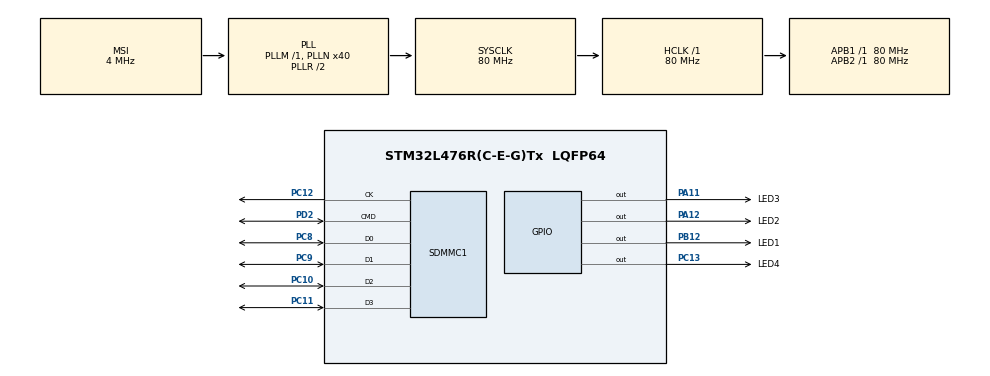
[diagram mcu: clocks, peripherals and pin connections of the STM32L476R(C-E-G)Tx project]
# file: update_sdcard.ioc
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Mcu.Family=STM32L4
RCC.MSI_VALUE=4000000
RCC.CortexFreq_Value=80000000
VP_FATFS_VS_SDIO.Mode=SDIO
PC12.Signal=SDMMC1_CK
PC11.Signal=SDMMC1_D3
PC10.Signal=SDMMC1_D2
PC13.Signal=GPIO_Output
PC8.Signal=SDMMC1_D0
PC10.Mode=SD_4_bits_Wide_bus
PA11.GPIO_Label=LED3
PC13.GPIO_Label=LED4
PA12.GPIO_Label=LED2
RCC.SYSCLKSource=RCC_SYSCLKSOURCE_PLLCLK
ProjectManager.StackSize=0x400
NVIC.SDMMC1_IRQn=true\:0\:0\:false\:false\:true\:true\:true
PA12.Signal=GPIO_Output
ProjectManager.TargetToolchain=MDK-ARM V5.27
RCC.HCLKFreq_Value=80000000
RCC.APB2TimFreq_Value=80000000
PB12.PinState=GPIO_PIN_SET
RCC.USBFreq_Value=32000000
RCC.LSE_VALUE=32768
RCC.AHBFreq_Value=80000000
PD2.Mode=SD_4_bits_Wide_bus
PA12.PinState=GPIO_PIN_SET
RCC.HSE_VALUE=8000000
PC12.Mode=SD_4_bits_Wide_bus
board=custom
RCC.VCOOutputFreq_Value=160000000
PB12.GPIO_Label=LED1
RCC.APB2Freq_Value=80000000
RCC.ADCFreq_Value=32000000
PC9.Mode=SD_4_bits_Wide_bus
FATFS._USE_FIND=0
Mcu.Name=STM32L476R(C-E-G)Tx
FATFS._MAX_SS=4096
PC8.Mode=SD_4_bits_Wide_bus
RCC.SYSCLKFreq_VALUE=80000000
Mcu.Package=LQFP64
PA11.Signal=GPIO_Output
ProjectManager.HeapSize=0x200
PC11.Mode=SD_4_bits_Wide_bus
RCC.HSI_VALUE=16000000
NVIC.PriorityGroup=NVIC_PRIORITYGROUP_4
RCC.PLLN=40
RCC.APB1TimFreq_Value=80000000
PC9.Signal=SDMMC1_D1
PD2.Signal=SDMMC1_CMD
RCC.APB1Freq_Value=80000000
PA11.PinState=GPIO_PIN_SET
PB12.Signal=GPIO_Output
PC13.PinState=GPIO_PIN_SET
RCC.PLLSAI1N=16

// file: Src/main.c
/* USER CODE BEGIN Header */
/**
  ******************************************************************************
  * @file           : main.c
  * @brief          : Main program body
  ******************************************************************************
  * @attention
  *
  * <h2><center>&copy; Copyright (c) 2022 STMicroelectronics.
  * All rights reserved.</center></h2>
  *
  * This software component is licensed by ST under BSD 3-Clause license,
  * the "License"; You may not use this file except in compliance with the
  * License. You may obtain a copy of the License at:
  *                        opensource.org/licenses/BSD-3-Clause
  *
  ******************************************************************************
  */
/* USER CODE END Header */

#include "main.h"
#include "fatfs.h"

/* USER CODE BEGIN Includes */
#include "bootloader.h"
/* USER CODE END Includes */

SD_HandleTypeDef hsd1;

/* USER CODE BEGIN PV */

//static uint8_t BTNcounter = 0;
/* USER CODE BEGIN Includes */
//extern char SDPath[4]; /* SD logical drive path */
//extern FATFS SDFatFs;  /* File system object for SD logical drive */
//extern FIL SDFile;     /* File object for SD */

/* USER CODE END PV */

void SystemClock_Config(void);
static void MX_GPIO_Init(void);
static void MX_SDMMC1_SD_Init(void);
/* USER CODE BEGIN PFP */
void Enter_Bootloader(void);
static void MX_GPIO_DeInit(void);
uint8_t SD_Init(void);
void SD_DeInit(void);
void SD_Eject(void);
/* USER CODE END PFP */

int main(void)
{

  /* MCU Configuration--------------------------------------------------------*/

  /* Reset of all peripherals, Initializes the Flash interface and the Systick. */
  HAL_Init();

  /* Configure the system clock */
  SystemClock_Config();

  /* Initialize all configured peripherals */
  MX_GPIO_Init();
  MX_SDMMC1_SD_Init();
  MX_FATFS_Init();
  /* USER CODE BEGIN 2 */
/* Check system reset flags */
	if(__HAL_RCC_GET_FLAG(RCC_FLAG_OBLRST))
	{
#if(CLEAR_RESET_FLAGS)
        /* Clear system reset flags */
			__HAL_RCC_CLEAR_RESET_FLAGS();
        //print("Reset flags cleared.");
#endif
	}
	Enter_Bootloader();
	/* Check if there is application in user flash area */
	if(Bootloader_CheckForApplication() == BL_OK)
	{
#if(USE_CHECKSUM)
			/* Verify application checksum */
			if(Bootloader_VerifyChecksum() != BL_OK)
			{
					//print("Checksum Error.");
					Error_Handler();
			}
			else
			{
					//print("Checksum OK.");
			}
#endif

			HAL_Delay(1000);
			/* De-initialize bootloader hardware & peripherals */
			SD_DeInit();
			MX_GPIO_DeInit();
			/* Launch application */
			Bootloader_JumpToApplication();
	}
  /* USER CODE END 2 */

  /* Infinite loop */
  while (1)
  {

  }
}

void SystemClock_Config(void)
{
  RCC_OscInitTypeDef RCC_OscInitStruct = {0};
  RCC_ClkInitTypeDef RCC_ClkInitStruct = {0};
  RCC_PeriphCLKInitTypeDef PeriphClkInit = {0};

  /** Initializes the CPU, AHB and APB busses clocks
  */
  RCC_OscInitStruct.OscillatorType = RCC_OSCILLATORTYPE_MSI;
  RCC_OscInitStruct.MSIState = RCC_MSI_ON;
  RCC_OscInitStruct.MSICalibrationValue = 0;
  RCC_OscInitStruct.MSIClockRange = RCC_MSIRANGE_6;
  RCC_OscInitStruct.PLL.PLLState = RCC_PLL_ON;
  RCC_OscInitStruct.PLL.PLLSource = RCC_PLLSOURCE_MSI;
  RCC_OscInitStruct.PLL.PLLM = 1;
  RCC_OscInitStruct.PLL.PLLN = 40;
  RCC_OscInitStruct.PLL.PLLP = RCC_PLLP_DIV7;
  RCC_OscInitStruct.PLL.PLLQ = RCC_PLLQ_DIV2;
  RCC_OscInitStruct.PLL.PLLR = RCC_PLLR_DIV2;
  if (HAL_RCC_OscConfig(&RCC_OscInitStruct) != HAL_OK)
  {
    Error_Handler();
  }
  /** Initializes the CPU, AHB and APB busses clocks
  */
  RCC_ClkInitStruct.ClockType = RCC_CLOCKTYPE_HCLK|RCC_CLOCKTYPE_SYSCLK
                              |RCC_CLOCKTYPE_PCLK1|RCC_CLOCKTYPE_PCLK2;
  RCC_ClkInitStruct.SYSCLKSource = RCC_SYSCLKSOURCE_PLLCLK;
  RCC_ClkInitStruct.AHBCLKDivider = RCC_SYSCLK_DIV1;
  RCC_ClkInitStruct.APB1CLKDivider = RCC_HCLK_DIV1;
  RCC_ClkInitStruct.APB2CLKDivider = RCC_HCLK_DIV1;

  if (HAL_RCC_ClockConfig(&RCC_ClkInitStruct, FLASH_LATENCY_4) != HAL_OK)
  {
    Error_Handler();
  }
  PeriphClkInit.PeriphClockSelection = RCC_PERIPHCLK_SDMMC1;
  PeriphClkInit.Sdmmc1ClockSelection = RCC_SDMMC1CLKSOURCE_PLLSAI1;
  PeriphClkInit.PLLSAI1.PLLSAI1Source = RCC_PLLSOURCE_MSI;
  PeriphClkInit.PLLSAI1.PLLSAI1M = 1;
  PeriphClkInit.PLLSAI1.PLLSAI1N = 16;
  PeriphClkInit.PLLSAI1.PLLSAI1P = RCC_PLLP_DIV7;
  PeriphClkInit.PLLSAI1.PLLSAI1Q = RCC_PLLQ_DIV2;
  PeriphClkInit.PLLSAI1.PLLSAI1R = RCC_PLLR_DIV2;
  PeriphClkInit.PLLSAI1.PLLSAI1ClockOut = RCC_PLLSAI1_48M2CLK;
  if (HAL_RCCEx_PeriphCLKConfig(&PeriphClkInit) != HAL_OK)
  {
    Error_Handler();
  }
  /** Configure the main internal regulator output voltage
  */
  if (HAL_PWREx_ControlVoltageScaling(PWR_REGULATOR_VOLTAGE_SCALE1) != HAL_OK)
  {
    Error_Handler();
  }
}

static void MX_SDMMC1_SD_Init(void)
{

  hsd1.Instance = SDMMC1;
  hsd1.Init.ClockEdge = SDMMC_CLOCK_EDGE_RISING;
  hsd1.Init.ClockBypass = SDMMC_CLOCK_BYPASS_DISABLE;
  hsd1.Init.ClockPowerSave = SDMMC_CLOCK_POWER_SAVE_DISABLE;
  hsd1.Init.BusWide = SDMMC_BUS_WIDE_1B;
  hsd1.Init.HardwareFlowControl = SDMMC_HARDWARE_FLOW_CONTROL_DISABLE;
  hsd1.Init.ClockDiv = 0;

}

static void MX_GPIO_Init(void)
{
  GPIO_InitTypeDef GPIO_InitStruct = {0};

  /* GPIO Ports Clock Enable */
  __HAL_RCC_GPIOC_CLK_ENABLE();
  __HAL_RCC_GPIOB_CLK_ENABLE();
  __HAL_RCC_GPIOA_CLK_ENABLE();
  __HAL_RCC_GPIOD_CLK_ENABLE();

  /*Configure GPIO pin Output Level */
  HAL_GPIO_WritePin(LED4_GPIO_Port, LED4_Pin, GPIO_PIN_SET);

  /*Configure GPIO pin Output Level */
  HAL_GPIO_WritePin(LED1_GPIO_Port, LED1_Pin, GPIO_PIN_SET);

  /*Configure GPIO pin Output Level */
  HAL_GPIO_WritePin(GPIOA, LED3_Pin|LED2_Pin, GPIO_PIN_SET);

  /*Configure GPIO pin : LED4_Pin */
  GPIO_InitStruct.Pin = LED4_Pin;
  GPIO_InitStruct.Mode = GPIO_MODE_OUTPUT_PP;
  GPIO_InitStruct.Pull = GPIO_NOPULL;
  GPIO_InitStruct.Speed = GPIO_SPEED_FREQ_LOW;
  HAL_GPIO_Init(LED4_GPIO_Port, &GPIO_InitStruct);

  /*Configure GPIO pin : LED1_Pin */
  GPIO_InitStruct.Pin = LED1_Pin;
  GPIO_InitStruct.Mode = GPIO_MODE_OUTPUT_PP;
  GPIO_InitStruct.Pull = GPIO_NOPULL;
  GPIO_InitStruct.Speed = GPIO_SPEED_FREQ_LOW;
  HAL_GPIO_Init(LED1_GPIO_Port, &GPIO_InitStruct);

  /*Configure GPIO pins : LED3_Pin LED2_Pin */
  GPIO_InitStruct.Pin = LED3_Pin|LED2_Pin;
  GPIO_InitStruct.Mode = GPIO_MODE_OUTPUT_PP;
  GPIO_InitStruct.Pull = GPIO_NOPULL;
  GPIO_InitStruct.Speed = GPIO_SPEED_FREQ_LOW;
  HAL_GPIO_Init(GPIOA, &GPIO_InitStruct);

}

/* USER CODE BEGIN 4 */
static void MX_GPIO_DeInit(void)
{

  /* GPIO Ports Clock Enable */
  __HAL_RCC_GPIOC_CLK_DISABLE();
  __HAL_RCC_GPIOD_CLK_DISABLE();

}
void Enter_Bootloader(void)
{
    FRESULT fr;
    UINT num;
    uint8_t i;
    uint8_t status;
    uint64_t data;
    uint32_t cntr;
    uint32_t addr;

    /* Check for flash write protection */
    if(Bootloader_GetProtectionStatus() & BL_PROTECTION_WRP)
    {
        //print("Application space in flash is write protected.");
        //print("Press button to disable flash write protection...");
        //LED_R_ON();
        for(i = 0; i < 100; ++i)
        {
            //LED_Y_TG();
            HAL_Delay(50);
						Bootloader_ConfigProtection(BL_PROTECTION_NONE);
            /*if(IS_BTN_PRESSED())
            {
                //print("Disabling write protection and generating system reset...");
                Bootloader_ConfigProtection(BL_PROTECTION_NONE);
            }*/
        }
        //LED_R_OFF();
        //LED_Y_OFF();
       // print("Button was not pressed, write protection is still active.");
       // print("Exiting Bootloader.");
        return;
    }

    /* Initialize SD card */
    /*if(SD_Init())
    {
        // SD init failed
       // print("SD card cannot be initialized.");
        return;
    }*/

    /* Mount SD card */
    fr = f_mount(&SDFatFS, (TCHAR const*)SDPath, 1);
    if(fr != FR_OK)
    {
        /* f_mount failed */
        //print("SD card cannot be mounted.");
        //sprintf(msg, "FatFs error code: %u", fr);
       // print(msg);
        return;
    }
   // print("SD mounted.");
		/* open version file programming */
		/*fr = f_open(&SDFile, CONF_VERSION, FA_READ);
		if(fr != FR_OK)
		{
			 SD_Eject();
       return;
		}*/

    /* Open file for programming */
    fr = f_open(&SDFile, CONF_FILENAME, FA_READ);
    if(fr != FR_OK)
    {
       /* f_open failed */
       SD_Eject();
       return;
    }
    //print("Software found on SD.");

    /* Check size of application found on SD card */
    if(Bootloader_CheckSize(f_size(&SDFile)) != BL_OK)
    {
        //print("Error: app on SD card is too large.");

        f_close(&SDFile);
        SD_Eject();
        //print("SD ejected.");
        return;
    }
    //print("App size OK.");

    /* Step 1: Init Bootloader and Flash */
    Bootloader_Init();

    /* Step 2: Erase Flash */
    //print("Erasing flash...");
    //LED_Y_ON();
    Bootloader_Erase();
    //LED_Y_OFF();
    //print("Flash erase finished.");

    /* If BTN is pressed, then skip programming */
    /*if(IS_BTN_PRESSED())
    {
        //print("Programming skipped.");

        f_close(&SDFile);
        SD_Eject();
        //print("SD ejected.");
        return;
    }*/

    /* Step 3: Programming */
    //print("Starting programming...");
    //LED_Y_ON();
    cntr = 0;
    Bootloader_FlashBegin();
    do
    {
        data =0xFFFFFFFFFFFFFF;
        fr   = f_read(&SDFile, &data, 8, &num);
        if(num)
        {
            status = Bootloader_FlashNext(data);
            if(status == BL_OK)
            {
                cntr++;
            }
            else
            {
                //sprintf(msg, "Programming error at: %lu byte", (cntr * 8));
               // print(msg);

                f_close(&SDFile);
                SD_Eject();
                //print("SD ejected.");

                //LED_G_OFF();
                //LED_Y_OFF();
                return;
            }
        }
        if(cntr % 256 == 0)
        {
            /* Toggle green LED during programming */
            //LED_G_TG();
        }
    } while((fr == FR_OK) && (num > 0));

    /* Step 4: Finalize Programming */
    Bootloader_FlashEnd();
    f_close(&SDFile);
    //LED_G_OFF();
    //LED_Y_OFF();
    //print("Programming finished.");
    /* Open file for verification */
    fr = f_open(&SDFile, CONF_FILENAME, FA_READ);
    if(fr != FR_OK)
    {
        /* f_open failed */
        //print("File cannot be opened.");
        //sprintf(msg, "FatFs error code: %u", fr);
       // print(msg);

        SD_Eject();
        //print("SD ejected.");
        return;
    }

    /* Step 5: Verify Flash Content */
    addr = APP_ADDRESS;
    cntr = 0;
    do
    {
        data = 0xFFFFFFFFFFFFFFFF;
        fr   = f_read(&SDFile, &data, 4, &num);
        if(num)
        {
            if(*(uint32_t*)addr == (uint32_t)data)
            {
                addr += 4;
                cntr++;
            }
            else
            {
                //sprintf(msg, "Verification error at: %lu byte.", (cntr * 4));
                //print(msg);

                f_close(&SDFile);
                SD_Eject();
                //print("SD ejected.");

                //LED_G_OFF();
                return;
            }
        }
        if(cntr % 256 == 0)
        {
            /* Toggle green LED during verification */
            //LED_G_TG();
        }
    } while((fr == FR_OK) && (num > 0));
    //print("Verification passed.");
    //LED_G_OFF();

    /* Eject SD card */
    SD_Eject();
    //print("SD ejected.");

    /* Enable flash write protection */
#if(USE_WRITE_PROTECTION)
    //print("Enablig flash write protection and generating system reset...");
    if(Bootloader_ConfigProtection(BL_PROTECTION_WRP) != BL_OK)
    {
        //print("Failed to enable write protection.");
        //print("Exiting Bootloader.");
    }
#endif
}

void SD_DeInit(void)
{
			BSP_SD_DeInit();
			MX_FATFS_DEInit();
    //SDCARD_OFF();
}

void SD_Eject(void)
{
    f_mount(NULL, (TCHAR const*)SDPath, 0);
}

/* USER CODE END 4 */

void Error_Handler(void)
{
  /* USER CODE BEGIN Error_Handler_Debug */
  /* User can add his own implementation to report the HAL error return state */
while(1)
{}
  /* USER CODE END Error_Handler_Debug */
}

/************************ (C) COPYRIGHT STMicroelectronics *****END OF FILE****/
